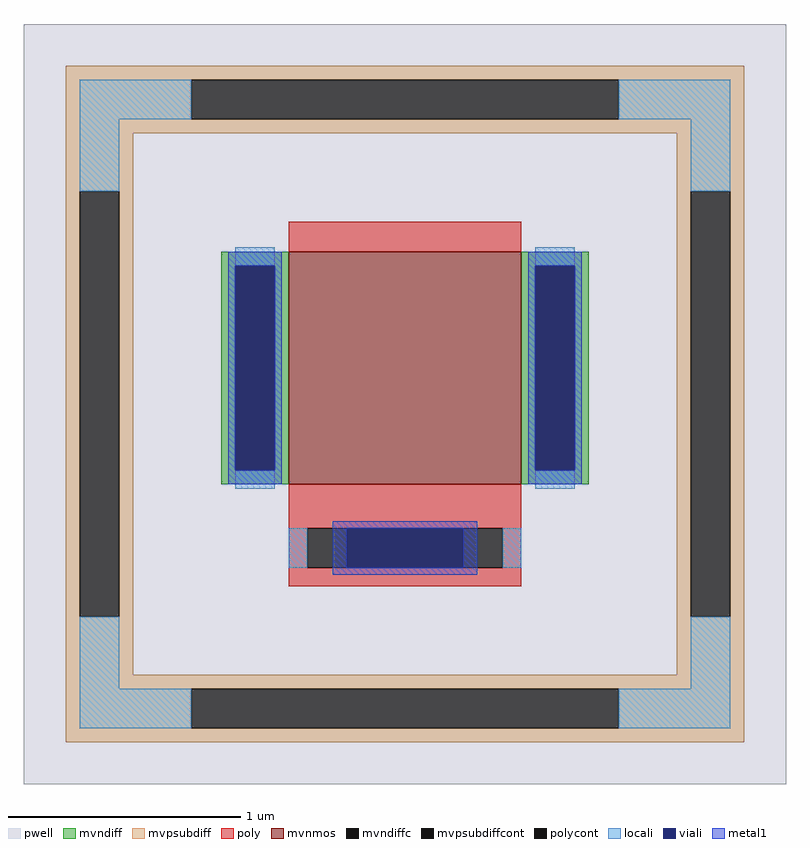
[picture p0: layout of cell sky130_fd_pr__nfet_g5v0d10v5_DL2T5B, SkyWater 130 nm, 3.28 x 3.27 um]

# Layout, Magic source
magic
tech sky130A
magscale 1 2
<< pwell >>
rect -328 -327 328 327
<< mvnmos >>
rect -100 -69 100 131
<< mvndiff >>
rect -158 119 -100 131
rect -158 -57 -146 119
rect -112 -57 -100 119
rect -158 -69 -100 -57
rect 100 119 158 131
rect 100 -57 112 119
rect 146 -57 158 119
rect 100 -69 158 -57
<< mvndiffc >>
rect -146 -57 -112 119
rect 112 -57 146 119
<< mvpsubdiff >>
rect -292 279 292 291
rect -292 245 -184 279
rect 184 245 292 279
rect -292 233 292 245
rect -292 183 -234 233
rect -292 -183 -280 183
rect -246 -183 -234 183
rect 234 183 292 233
rect -292 -233 -234 -183
rect 234 -183 246 183
rect 280 -183 292 183
rect 234 -233 292 -183
rect -292 -245 292 -233
rect -292 -279 -184 -245
rect 184 -279 292 -245
rect -292 -291 292 -279
<< mvpsubdiffcont >>
rect -184 245 184 279
rect -280 -183 -246 183
rect 246 -183 280 183
rect -184 -279 184 -245
<< poly >>
rect -100 131 100 157
rect -100 -107 100 -69
rect -100 -141 -84 -107
rect 84 -141 100 -107
rect -100 -157 100 -141
<< polycont >>
rect -84 -141 84 -107
<< locali >>
rect -280 245 -184 279
rect 184 245 280 279
rect -280 183 -246 245
rect 246 183 280 245
rect -146 119 -112 135
rect -146 -73 -112 -57
rect 112 119 146 135
rect 112 -73 146 -57
rect -100 -141 -84 -107
rect 84 -141 100 -107
rect -280 -245 -246 -183
rect 246 -245 280 -183
rect -280 -279 -184 -245
rect 184 -279 280 -245
<< viali >>
rect -146 -57 -112 119
rect 112 -57 146 119
rect -50 -141 50 -107
<< metal1 >>
rect -152 119 -106 131
rect -152 -57 -146 119
rect -112 -57 -106 119
rect -152 -69 -106 -57
rect 106 119 152 131
rect 106 -57 112 119
rect 146 -57 152 119
rect 106 -69 152 -57
rect -62 -107 62 -101
rect -62 -141 -50 -107
rect 50 -141 62 -107
rect -62 -147 62 -141
<< properties >>
string FIXED_BBOX -263 -262 263 262
string gencell sky130_fd_pr__nfet_g5v0d10v5
string library sky130
string parameters w 1.0 l 1.0 m 1 nf 1 diffcov 100 polycov 100 guard 1 glc 1 grc 1 gtc 1 gbc 1 tbcov 100 rlcov 100 topc 0 botc 1 poverlap 0 doverlap 1 lmin 0.50 wmin 0.42 compatible {sky130_fd_pr__nfet_01v8 sky130_fd_pr__nfet_01v8_lvt  sky130_fd_bs_flash__special_sonosfet_star  sky130_fd_pr__nfet_g5v0d10v5 sky130_fd_pr__nfet_05v0_nvt  sky130_fd_pr__nfet_03v3_nvt} full_metal 1 viasrc 100 viadrn 100 viagate 59 viagb 0 viagr 0 viagl 0 viagt 0
<< end >>
